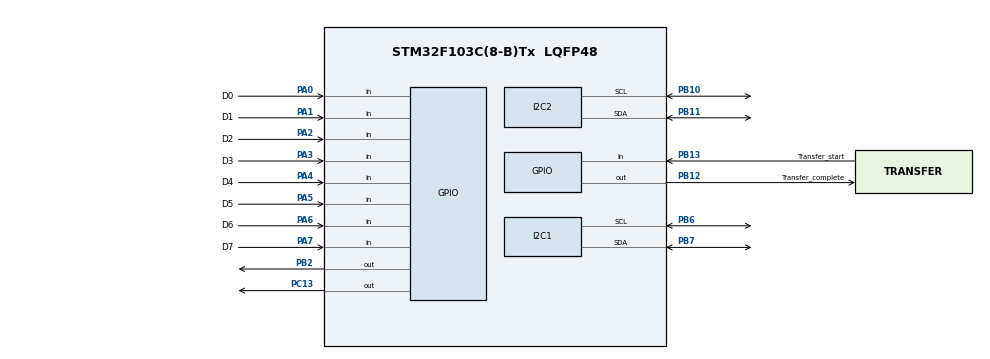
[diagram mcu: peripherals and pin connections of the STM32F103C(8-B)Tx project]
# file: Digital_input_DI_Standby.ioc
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I2C1.OwnAddress=0x12
I2C2.OwnAddress=0x12
Mcu.Family=STM32F1
Mcu.Name=STM32F103C(8-B)Tx
Mcu.Package=LQFP48
NVIC.I2C1_ER_IRQn=true\:0\:0\:false\:false\:true\:true\:true\:true
NVIC.I2C1_EV_IRQn=true\:0\:0\:false\:false\:true\:true\:true\:true
NVIC.PriorityGroup=NVIC_PRIORITYGROUP_4
PA0-WKUP.GPIO_Label=D0
PA0-WKUP.GPIO_PuPd=GPIO_PULLDOWN
PA0-WKUP.Signal=GPIO_Input
PA1.GPIO_Label=D1
PA1.GPIO_PuPd=GPIO_PULLDOWN
PA1.Signal=GPIO_Input
PA13.Mode=Serial_Wire
PA13.Signal=SYS_JTMS-SWDIO
PA14.Mode=Serial_Wire
PA14.Signal=SYS_JTCK-SWCLK
PA2.GPIO_Label=D2
PA2.GPIO_PuPd=GPIO_PULLDOWN
PA2.Signal=GPIO_Input
PA3.GPIO_Label=D3
PA3.GPIO_PuPd=GPIO_PULLDOWN
PA3.Signal=GPIO_Input
PA4.GPIO_Label=D4
PA4.GPIO_PuPd=GPIO_PULLDOWN
PA4.Signal=GPIO_Input
PA5.GPIO_Label=D5
PA5.GPIO_PuPd=GPIO_PULLDOWN
PA5.Signal=GPIO_Input
PA6.GPIO_Label=D6
PA6.GPIO_PuPd=GPIO_PULLDOWN
PA6.Signal=GPIO_Input
PA7.GPIO_Label=D7
PA7.GPIO_PuPd=GPIO_PULLDOWN
PA7.Signal=GPIO_Input
PB10.Mode=I2C
PB10.Signal=I2C2_SCL
PB11.Mode=I2C
PB11.Signal=I2C2_SDA
PB12.GPIO_Label=Transfer_complete
PB12.Signal=GPIO_Output
PB13.GPIO_Label=Transfer_start
PB13.GPIO_PuPd=GPIO_PULLDOWN
PB13.Signal=GPIO_Input
PB2.Signal=GPIO_Output
PB6.Mode=I2C
PB6.Signal=I2C1_SCL
PB7.Mode=I2C
PB7.Signal=I2C1_SDA
PC13-TAMPER-RTC.Signal=GPIO_Output
ProjectManager.HeapSize=0x200
ProjectManager.StackSize=0x400
ProjectManager.TargetToolchain=STM32CubeIDE
RCC.APB1Freq_Value=8000000
RCC.APB2Freq_Value=8000000
board=custom

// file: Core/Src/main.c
/* USER CODE BEGIN Header */
/**
  ******************************************************************************
  * @file           : main.c
  * @brief          : Main program body
  ******************************************************************************
  * @attention
  *
  * Copyright (c) 2025 STMicroelectronics.
  * All rights reserved.
  *
  * This software is licensed under terms that can be found in the LICENSE file
  * in the root directory of this software component.
  * If no LICENSE file comes with this software, it is provided AS-IS.
  *
  ******************************************************************************
  */
/* USER CODE END Header */
#include "main.h"

/* USER CODE BEGIN Includes */
#include "Data_converter.h"
/* USER CODE END Includes */

I2C_HandleTypeDef hi2c1;
I2C_HandleTypeDef hi2c2;

/* USER CODE BEGIN PV */

uint8_t dataBuffer; // Stores input pin states in the form of a byte for transmission

/* USER CODE END PV */

void SystemClock_Config(void);
static void MX_GPIO_Init(void);
static void MX_I2C1_Init(void);
static void MX_I2C2_Init(void);

int main(void)
{

  /* MCU Configuration--------------------------------------------------------*/

  /* Reset of all peripherals, Initializes the Flash interface and the Systick. */
  HAL_Init();

  /* Configure the system clock */
  SystemClock_Config();

  /* Initialize all configured peripherals */
  MX_GPIO_Init();
  MX_I2C1_Init();
  MX_I2C2_Init();
  /* USER CODE BEGIN 2 */
  /* Data is transmitted to the Main control module 1(of primary controller) using I2C1.
   * Data is transmitted to the Main control module 2(of secondary controller) using I2C2.
   * DI acts as slave in both cases and has a standard slave address as 0x10 on both the buses.
   */
  HAL_I2C_Slave_Transmit_IT(&hi2c1, &dataBuffer, 1);
  HAL_I2C_Slave_Transmit_IT(&hi2c2, &dataBuffer, 1);
  /* USER CODE END 2 */

  /* Infinite loop */
  /* USER CODE BEGIN WHILE */
  while (1)
  {
	  dataBuffer = getByteData();
    /* USER CODE END WHILE */

  }
}

void SystemClock_Config(void)
{
  RCC_OscInitTypeDef RCC_OscInitStruct = {0};
  RCC_ClkInitTypeDef RCC_ClkInitStruct = {0};

  /** Initializes the RCC Oscillators according to the specified parameters
  * in the RCC_OscInitTypeDef structure.
  */
  RCC_OscInitStruct.OscillatorType = RCC_OSCILLATORTYPE_HSI;
  RCC_OscInitStruct.HSIState = RCC_HSI_ON;
  RCC_OscInitStruct.HSICalibrationValue = RCC_HSICALIBRATION_DEFAULT;
  RCC_OscInitStruct.PLL.PLLState = RCC_PLL_NONE;
  if (HAL_RCC_OscConfig(&RCC_OscInitStruct) != HAL_OK)
  {
    Error_Handler();
  }

  /** Initializes the CPU, AHB and APB buses clocks
  */
  RCC_ClkInitStruct.ClockType = RCC_CLOCKTYPE_HCLK|RCC_CLOCKTYPE_SYSCLK
                              |RCC_CLOCKTYPE_PCLK1|RCC_CLOCKTYPE_PCLK2;
  RCC_ClkInitStruct.SYSCLKSource = RCC_SYSCLKSOURCE_HSI;
  RCC_ClkInitStruct.AHBCLKDivider = RCC_SYSCLK_DIV1;
  RCC_ClkInitStruct.APB1CLKDivider = RCC_HCLK_DIV1;
  RCC_ClkInitStruct.APB2CLKDivider = RCC_HCLK_DIV1;

  if (HAL_RCC_ClockConfig(&RCC_ClkInitStruct, FLASH_LATENCY_0) != HAL_OK)
  {
    Error_Handler();
  }
}

static void MX_I2C1_Init(void)
{

  hi2c1.Instance = I2C1;
  hi2c1.Init.ClockSpeed = 100000;
  hi2c1.Init.DutyCycle = I2C_DUTYCYCLE_2;
  hi2c1.Init.OwnAddress1 = 36;
  hi2c1.Init.AddressingMode = I2C_ADDRESSINGMODE_7BIT;
  hi2c1.Init.DualAddressMode = I2C_DUALADDRESS_DISABLE;
  hi2c1.Init.OwnAddress2 = 0;
  hi2c1.Init.GeneralCallMode = I2C_GENERALCALL_DISABLE;
  hi2c1.Init.NoStretchMode = I2C_NOSTRETCH_DISABLE;
  if (HAL_I2C_Init(&hi2c1) != HAL_OK)
  {
    Error_Handler();
  }

}

static void MX_I2C2_Init(void)
{

  hi2c2.Instance = I2C2;
  hi2c2.Init.ClockSpeed = 100000;
  hi2c2.Init.DutyCycle = I2C_DUTYCYCLE_2;
  hi2c2.Init.OwnAddress1 = 36;
  hi2c2.Init.AddressingMode = I2C_ADDRESSINGMODE_7BIT;
  hi2c2.Init.DualAddressMode = I2C_DUALADDRESS_DISABLE;
  hi2c2.Init.OwnAddress2 = 0;
  hi2c2.Init.GeneralCallMode = I2C_GENERALCALL_DISABLE;
  hi2c2.Init.NoStretchMode = I2C_NOSTRETCH_DISABLE;
  if (HAL_I2C_Init(&hi2c2) != HAL_OK)
  {
    Error_Handler();
  }

}

static void MX_GPIO_Init(void)
{
  GPIO_InitTypeDef GPIO_InitStruct = {0};

  /* GPIO Ports Clock Enable */
  __HAL_RCC_GPIOC_CLK_ENABLE();
  __HAL_RCC_GPIOA_CLK_ENABLE();
  __HAL_RCC_GPIOB_CLK_ENABLE();

  /*Configure GPIO pin Output Level */
  HAL_GPIO_WritePin(GPIOC, GPIO_PIN_13, GPIO_PIN_RESET);

  /*Configure GPIO pin Output Level */
  HAL_GPIO_WritePin(GPIOB, GPIO_PIN_2|Transfer_complete_Pin, GPIO_PIN_RESET);

  /*Configure GPIO pin : PC13 */
  GPIO_InitStruct.Pin = GPIO_PIN_13;
  GPIO_InitStruct.Mode = GPIO_MODE_OUTPUT_PP;
  GPIO_InitStruct.Pull = GPIO_NOPULL;
  GPIO_InitStruct.Speed = GPIO_SPEED_FREQ_LOW;
  HAL_GPIO_Init(GPIOC, &GPIO_InitStruct);

  /*Configure GPIO pins : D0_Pin D1_Pin D2_Pin D3_Pin
                           D4_Pin D5_Pin D6_Pin D7_Pin */
  GPIO_InitStruct.Pin = D0_Pin|D1_Pin|D2_Pin|D3_Pin
                          |D4_Pin|D5_Pin|D6_Pin|D7_Pin;
  GPIO_InitStruct.Mode = GPIO_MODE_INPUT;
  GPIO_InitStruct.Pull = GPIO_PULLDOWN;
  HAL_GPIO_Init(GPIOA, &GPIO_InitStruct);

  /*Configure GPIO pins : PB2 Transfer_complete_Pin */
  GPIO_InitStruct.Pin = GPIO_PIN_2|Transfer_complete_Pin;
  GPIO_InitStruct.Mode = GPIO_MODE_OUTPUT_PP;
  GPIO_InitStruct.Pull = GPIO_NOPULL;
  GPIO_InitStruct.Speed = GPIO_SPEED_FREQ_LOW;
  HAL_GPIO_Init(GPIOB, &GPIO_InitStruct);

  /*Configure GPIO pin : Transfer_start_Pin */
  GPIO_InitStruct.Pin = Transfer_start_Pin;
  GPIO_InitStruct.Mode = GPIO_MODE_INPUT;
  GPIO_InitStruct.Pull = GPIO_PULLDOWN;
  HAL_GPIO_Init(Transfer_start_GPIO_Port, &GPIO_InitStruct);

}

/* USER CODE BEGIN 4 */
void HAL_I2C_SlaveTxCpltCallback(I2C_HandleTypeDef *hi2c){
	if(hi2c->Instance == I2C1){
		HAL_I2C_Slave_Transmit_IT(&hi2c1, &dataBuffer, 1);
	    //HAL_GPIO_TogglePin(GPIOB, GPIO_PIN_2);
		HAL_GPIO_TogglePin(GPIOC, GPIO_PIN_13);
	}
	else if(hi2c->Instance == I2C2){
		HAL_I2C_Slave_Transmit_IT(&hi2c2, &dataBuffer, 1);
	    //HAL_GPIO_TogglePin(GPIOB, GPIO_PIN_2);
	    HAL_GPIO_TogglePin(GPIOC, GPIO_PIN_13);
	}
}

void HAL_I2C_ErrorCallback(I2C_HandleTypeDef *hi2c)
{
    if(hi2c->Instance == I2C1)
    {
    	HAL_I2C_Slave_Transmit_IT(&hi2c1, &dataBuffer, 1);
    }
    else if(hi2c->Instance == I2C2){
    	HAL_I2C_Slave_Transmit_IT(&hi2c2, &dataBuffer, 1);
    }
}
/* USER CODE END 4 */

void Error_Handler(void)
{
  __disable_irq();
  while (1)
  {
  }
}
